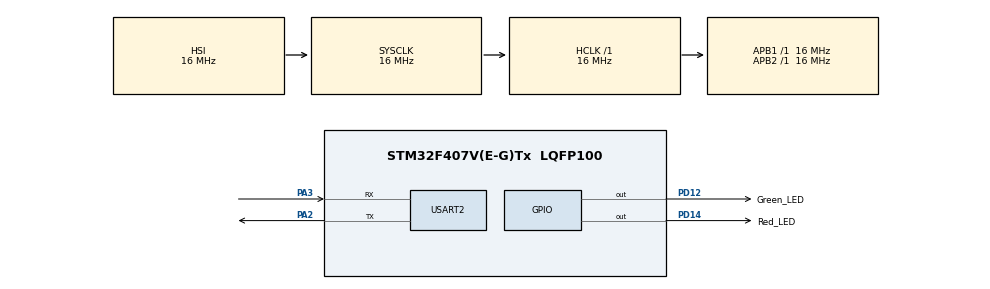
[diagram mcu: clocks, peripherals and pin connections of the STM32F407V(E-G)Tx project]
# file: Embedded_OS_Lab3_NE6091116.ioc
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Mcu.Family=STM32F4
Mcu.Name=STM32F407V(E-G)Tx
Mcu.Package=LQFP100
NVIC.PriorityGroup=NVIC_PRIORITYGROUP_4
NVIC.TIM6_DAC_IRQn=true\:0\:0\:false\:false\:true\:false\:true
NVIC.TimeBase=TIM6_DAC_IRQn
NVIC.TimeBaseIP=TIM6
PA13.Mode=Serial_Wire
PA13.Signal=SYS_JTMS-SWDIO
PA14.Mode=Serial_Wire
PA14.Signal=SYS_JTCK-SWCLK
PA2.Mode=Asynchronous
PA2.Signal=USART2_TX
PA3.Mode=Asynchronous
PA3.Signal=USART2_RX
PD12.GPIO_Label=Green_LED
PD12.Signal=GPIO_Output
PD14.GPIO_Label=Red_LED
PD14.Signal=GPIO_Output
ProjectManager.HeapSize=0x200
ProjectManager.StackSize=0x400
ProjectManager.TargetToolchain=STM32CubeIDE
RCC.AHBFreq_Value=16000000
RCC.APB1Freq_Value=16000000
RCC.APB2Freq_Value=16000000
RCC.CortexFreq_Value=16000000
RCC.HSE_VALUE=25000000
RCC.HSI_VALUE=16000000
RCC.LSE_VALUE=32768
RCC.SYSCLKFreq_VALUE=16000000
RCC.VCOOutputFreq_Value=192000000
USART2.VirtualMode=VM_ASYNC
VP_SYS_VS_tim6.Mode=TIM6
board=custom

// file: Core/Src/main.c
/* USER CODE BEGIN Header */
/**
  ******************************************************************************
  * @file           : main.c
  * @brief          : Main program body
  ******************************************************************************
  * @attention
  *
  * <h2><center>&copy; Copyright (c) 2021 STMicroelectronics.
  * All rights reserved.</center></h2>
  *
  * This software component is licensed by ST under BSD 3-Clause license,
  * the "License"; You may not use this file except in compliance with the
  * License. You may obtain a copy of the License at:
  *                        opensource.org/licenses/BSD-3-Clause
  *
  ******************************************************************************
  */
/* USER CODE END Header */
#include "main.h"

/* USER CODE BEGIN Includes */
#include "FreeRTOS.h"
#include "task.h"
#include "stm32f4xx_hal.h"
/* USER CODE END Includes */

UART_HandleTypeDef huart2;

void SystemClock_Config(void);
static void MX_GPIO_Init(void);
static void MX_USART2_UART_Init(void);
/* USER CODE BEGIN PFP */
void Red_LED_App(void *pvParameters);
void Green_LED_App(void *pvParameters);
void TaskMonitor_App(void *pvParameters);
void Delay_App(void *pvParameters);
/* USER CODE END PFP */

int main(void)
{

  /* MCU Configuration--------------------------------------------------------*/

  /* Reset of all peripherals, Initializes the Flash interface and the Systick. */
  HAL_Init();

  /* Configure the system clock */
  SystemClock_Config();

  /* Initialize all configured peripherals */
  MX_GPIO_Init();
  MX_USART2_UART_Init();
  /* USER CODE BEGIN 2 */
  xTaskCreate(Red_LED_App,"Red_LEDTask",130,(void *)NULL,1,NULL);
  xTaskCreate(Green_LED_App,"Green_LEDTask",130,(void *)NULL,1,NULL);
  xTaskCreate(TaskMonitor_App,"TaskMonitor",130,(void *)NULL,2,NULL);
  xTaskCreate(Delay_App,"Task_delay",130,(void *)NULL,14,NULL);
  vTaskStartScheduler();
  /* USER CODE END 2 */

  /* Infinite loop */
  while (1)
  {

  }
}

void SystemClock_Config(void)
{
  RCC_OscInitTypeDef RCC_OscInitStruct = {0};
  RCC_ClkInitTypeDef RCC_ClkInitStruct = {0};

  /** Configure the main internal regulator output voltage
  */
  __HAL_RCC_PWR_CLK_ENABLE();
  __HAL_PWR_VOLTAGESCALING_CONFIG(PWR_REGULATOR_VOLTAGE_SCALE1);
  /** Initializes the RCC Oscillators according to the specified parameters
  * in the RCC_OscInitTypeDef structure.
  */
  RCC_OscInitStruct.OscillatorType = RCC_OSCILLATORTYPE_HSI;
  RCC_OscInitStruct.HSIState = RCC_HSI_ON;
  RCC_OscInitStruct.HSICalibrationValue = RCC_HSICALIBRATION_DEFAULT;
  RCC_OscInitStruct.PLL.PLLState = RCC_PLL_NONE;
  if (HAL_RCC_OscConfig(&RCC_OscInitStruct) != HAL_OK)
  {
    Error_Handler();
  }
  /** Initializes the CPU, AHB and APB buses clocks
  */
  RCC_ClkInitStruct.ClockType = RCC_CLOCKTYPE_HCLK|RCC_CLOCKTYPE_SYSCLK
                              |RCC_CLOCKTYPE_PCLK1|RCC_CLOCKTYPE_PCLK2;
  RCC_ClkInitStruct.SYSCLKSource = RCC_SYSCLKSOURCE_HSI;
  RCC_ClkInitStruct.AHBCLKDivider = RCC_SYSCLK_DIV1;
  RCC_ClkInitStruct.APB1CLKDivider = RCC_HCLK_DIV1;
  RCC_ClkInitStruct.APB2CLKDivider = RCC_HCLK_DIV1;

  if (HAL_RCC_ClockConfig(&RCC_ClkInitStruct, FLASH_LATENCY_0) != HAL_OK)
  {
    Error_Handler();
  }
}

static void MX_USART2_UART_Init(void)
{

  huart2.Instance = USART2;
  huart2.Init.BaudRate = 115200;
  huart2.Init.WordLength = UART_WORDLENGTH_8B;
  huart2.Init.StopBits = UART_STOPBITS_1;
  huart2.Init.Parity = UART_PARITY_NONE;
  huart2.Init.Mode = UART_MODE_TX_RX;
  huart2.Init.HwFlowCtl = UART_HWCONTROL_NONE;
  huart2.Init.OverSampling = UART_OVERSAMPLING_16;
  if (HAL_UART_Init(&huart2) != HAL_OK)
  {
    Error_Handler();
  }

}

static void MX_GPIO_Init(void)
{
  GPIO_InitTypeDef GPIO_InitStruct = {0};

  /* GPIO Ports Clock Enable */
  __HAL_RCC_GPIOA_CLK_ENABLE();
  __HAL_RCC_GPIOD_CLK_ENABLE();

  /*Configure GPIO pin Output Level */
  HAL_GPIO_WritePin(GPIOD, Green_LED_Pin|Red_LED_Pin, GPIO_PIN_RESET);

  /*Configure GPIO pins : Green_LED_Pin Red_LED_Pin */
  GPIO_InitStruct.Pin = Green_LED_Pin|Red_LED_Pin;
  GPIO_InitStruct.Mode = GPIO_MODE_OUTPUT_PP;
  GPIO_InitStruct.Pull = GPIO_NOPULL;
  GPIO_InitStruct.Speed = GPIO_SPEED_FREQ_LOW;
  HAL_GPIO_Init(GPIOD, &GPIO_InitStruct);

}

/* USER CODE BEGIN 4 */
void Red_LED_App(void *pvParameters){
	uint32_t Redtimer = 500;
	while(1){
		HAL_GPIO_TogglePin(GPIOD,Red_LED_Pin);
		vTaskDelay(Redtimer);
		Redtimer += 1;
	}
}

void Green_LED_App(void *pvParameters){
	uint32_t Greentimer = 1000;
	while(1){
		HAL_GPIO_TogglePin(GPIOD,Green_LED_Pin);
		vTaskDelay(Greentimer);
		Greentimer += 2;
	}
}

void TaskMonitor_App(void *pvParameters){

		uint8_t i = 100;
		  for(;;)
		  {
			  	Taskmonitor();
			  	i +=  1;
			  	vTaskDelay(i);
				if( i == 500)
					i = 0 ;
		  }

}

void Delay_App(void *pvParameters){
	while(1){
		vTaskDelay(15000);
	}
}
/* USER CODE END 4 */

 /**
  * @brief  Period elapsed callback in non blocking mode
  * @note   This function is called  when TIM6 interrupt took place, inside
  * HAL_TIM_IRQHandler(). It makes a direct call to HAL_IncTick() to increment
  * a global variable "uwTick" used as application time base.
  * @param  htim : TIM handle
  * @retval None
  */
void HAL_TIM_PeriodElapsedCallback(TIM_HandleTypeDef *htim)
{
  if (htim->Instance == TIM6) {
    HAL_IncTick();
  }
}

void Error_Handler(void)
{
  __disable_irq();
  while (1)
  {
  }
}

/************************ (C) COPYRIGHT STMicroelectronics *****END OF FILE****/
